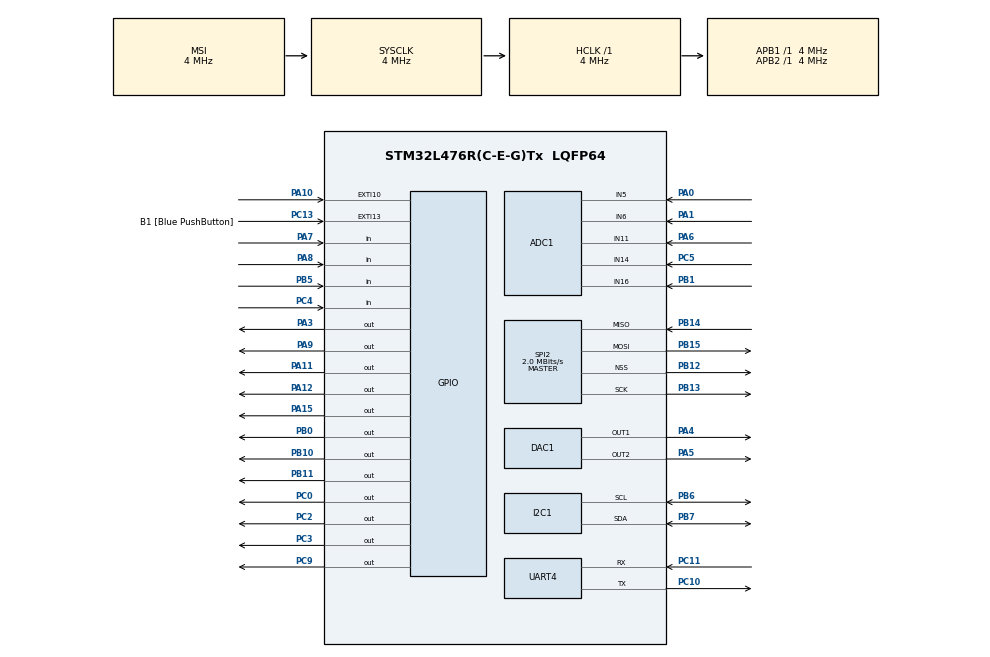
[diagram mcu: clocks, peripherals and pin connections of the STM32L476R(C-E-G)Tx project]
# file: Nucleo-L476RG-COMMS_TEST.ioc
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ADC1.Channel-0\#ChannelRegularConversion=ADC_CHANNEL_5
ADC1.NbrOfConversionFlag=1
ADC1.OffsetNumber-0\#ChannelRegularConversion=ADC_OFFSET_NONE
ADC1.Rank-0\#ChannelRegularConversion=1
ADC1.SamplingTime-0\#ChannelRegularConversion=ADC_SAMPLETIME_2CYCLES_5
ADC1.master=1
DAC1.DAC_Channel-DAC_OUT2=DAC_CHANNEL_2
FREERTOS.Tasks01=defaultTask,24,128,StartDefaultTask,Default,NULL,Dynamic,NULL,NULL
Mcu.Family=STM32L4
Mcu.Name=STM32L476R(C-E-G)Tx
Mcu.Package=LQFP64
NVIC.EXTI15_10_IRQn=true\:5\:0\:false\:false\:true\:true\:true\:true
NVIC.PriorityGroup=NVIC_PRIORITYGROUP_4
NVIC.SPI2_IRQn=true\:5\:0\:false\:false\:true\:true\:true\:true
NVIC.TIM1_UP_TIM16_IRQn=true\:5\:0\:false\:false\:true\:true\:true\:true
PA0.Signal=ADCx_IN5
PA1.Signal=ADCx_IN6
PA10.Signal=GPXTI10
PA11.Signal=GPIO_Output
PA12.Signal=GPIO_Output
PA13\ (JTMS-SWDIO).GPIO_Label=TMS
PA13\ (JTMS-SWDIO).Mode=Serial_Wire
PA13\ (JTMS-SWDIO).Signal=SYS_JTMS-SWDIO
PA14\ (JTCK-SWCLK).GPIO_Label=TCK
PA14\ (JTCK-SWCLK).Mode=Serial_Wire
PA14\ (JTCK-SWCLK).Signal=SYS_JTCK-SWCLK
PA15\ (JTDI).Signal=GPIO_Output
PA3.Signal=GPIO_Output
PA4.Signal=COMP_DAC11_group
PA5.Signal=COMP_DAC12_group
PA6.Signal=ADCx_IN11
PA7.Signal=GPIO_Input
PA8.Signal=GPIO_Input
PA9.Signal=GPIO_Output
PB0.Signal=GPIO_Output
PB1.Signal=ADCx_IN16
PB10.Signal=GPIO_Output
PB11.Signal=GPIO_Output
PB12.Mode=NSS_Signal_Hard_Output
PB12.Signal=SPI2_NSS
PB13.Mode=Full_Duplex_Master
PB13.Signal=SPI2_SCK
PB14.Mode=Full_Duplex_Master
PB14.Signal=SPI2_MISO
PB15.Mode=Full_Duplex_Master
PB15.Signal=SPI2_MOSI
PB5.Signal=GPIO_Input
PB6.Mode=I2C
PB6.Signal=I2C1_SCL
PB7.Mode=I2C
PB7.Signal=I2C1_SDA
PC0.Signal=GPIO_Output
PC10.Mode=Asynchronous
PC10.Signal=UART4_TX
PC11.Mode=Asynchronous
PC11.Signal=UART4_RX
PC13.GPIO_Label=B1 [Blue PushButton]
PC13.GPIO_ModeDefaultEXTI=GPIO_MODE_IT_FALLING
PC13.GPIO_PuPd=GPIO_NOPULL
PC13.Signal=GPXTI13
PC14-OSC32_IN\ (PC14).Mode=LSE-External-Oscillator
PC14-OSC32_IN\ (PC14).Signal=RCC_OSC32_IN
PC15-OSC32_OUT\ (PC15).Mode=LSE-External-Oscillator
PC15-OSC32_OUT\ (PC15).Signal=RCC_OSC32_OUT
PC2.Signal=GPIO_Output
PC3.Signal=GPIO_Output
PC4.Signal=GPIO_Input
PC5.Signal=ADCx_IN14
PC9.Signal=GPIO_Output
PH0-OSC_IN\ (PH0).Mode=HSE-External-Oscillator
PH0-OSC_IN\ (PH0).Signal=RCC_OSC_IN
PH1-OSC_OUT\ (PH1).Mode=HSE-External-Oscillator
PH1-OSC_OUT\ (PH1).Signal=RCC_OSC_OUT
ProjectManager.HeapSize=0x200
ProjectManager.StackSize=0x400
ProjectManager.TargetToolchain=STM32CubeIDE
RCC.ADCFreq_Value=64000000
RCC.AHBFreq_Value=4000000
RCC.APB1Freq_Value=4000000
RCC.APB1TimFreq_Value=4000000
RCC.APB2Freq_Value=4000000
RCC.APB2TimFreq_Value=4000000
RCC.CortexFreq_Value=4000000
RCC.HCLKFreq_Value=4000000
RCC.HSE_VALUE=8000000
RCC.HSI_VALUE=16000000
RCC.MSI_VALUE=4000000
RCC.PLLN=10
RCC.PLLSourceVirtual=RCC_PLLSOURCE_HSI
RCC.PREFETCH_ENABLE=1
RCC.SYSCLKFreq_VALUE=4000000
RCC.USBFreq_Value=64000000
RCC.VCOOutputFreq_Value=160000000
SH.ADCx_IN11.0=ADC1_IN11,IN11-Single-Ended
SH.ADCx_IN14.0=ADC1_IN14,IN14-Single-Ended
SH.ADCx_IN16.0=ADC1_IN16,IN16-Single-Ended
SH.ADCx_IN5.0=ADC1_IN5,IN5-Single-Ended
SH.ADCx_IN6.0=ADC1_IN6,IN6-Single-Ended
SH.COMP_DAC11_group.0=DAC1_OUT1,DAC_OUT1
SH.COMP_DAC12_group.0=DAC1_OUT2,DAC_OUT2
SPI2.CalculateBaudRate=2.0 MBits/s
SPI2.Direction=SPI_DIRECTION_2LINES
SPI2.Mode=SPI_MODE_MASTER
SPI2.VirtualNSS=VM_NSSHARD
SPI2.VirtualType=VM_MASTER
TIM16.Period=10000 - 1
TIM16.Prescaler=8000 - 1
VP_FREERTOS_VS_CMSIS_V2.Mode=CMSIS_V2
VP_IWDG_VS_IWDG.Mode=IWDG_Activate
VP_RTC_VS_RTC_Activate.Mode=RTC_Enabled
VP_RTC_VS_RTC_Calendar.Mode=RTC_Calendar
VP_TIM16_VS_ClockSourceINT.Mode=Enable_Timer
board=NUCLEO-L476RG

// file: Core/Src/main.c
/* USER CODE BEGIN Header */
/**
  ******************************************************************************
  * @file           : main.c
  * @brief          : Main program body
  ******************************************************************************
  * @attention
  *
  * <h2><center>&copy; Copyright (c) 2022 STMicroelectronics.
  * All rights reserved.</center></h2>
  *
  * This software component is licensed by ST under Ultimate Liberty license
  * SLA0044, the "License"; You may not use this file except in compliance with
  * the License. You may obtain a copy of the License at:
  *                             www.st.com/SLA0044
  *
  ******************************************************************************
  */
/* USER CODE END Header */
#include "main.h"
#include "cmsis_os.h"

/* USER CODE BEGIN Includes */
#include "definitions.h"
#include "flash.h"
/* USER CODE END Includes */

ADC_HandleTypeDef hadc1;

DAC_HandleTypeDef hdac1;

I2C_HandleTypeDef hi2c1;

IWDG_HandleTypeDef hiwdg;

RTC_HandleTypeDef hrtc;

SPI_HandleTypeDef hspi2;

TIM_HandleTypeDef htim16;

UART_HandleTypeDef huart4;

/* Definitions for OBC */
osThreadId_t OBCHandle;
const osThreadAttr_t OBC_attributes = {
		.name = "OBC",
		.stack_size = 4048 * 4,
		.priority = (osPriority_t) osPriorityNormal,
};
/* Definitions for COMMS */
osThreadId_t COMMSHandle;
const osThreadAttr_t COMMS_attributes = {
		.name = "COMMS",
		.stack_size = 4048 * 4,
		.priority = (osPriority_t) osPriorityNormal,
};
/* Definitions for ADCS */
osThreadId_t ADCSHandle;
const osThreadAttr_t ADCS_attributes = {
		.name = "ADCS",
		.stack_size = 4048 * 4,
		.priority = (osPriority_t) osPriorityNormal,
};
/* USER CODE BEGIN PV */
uint8_t timer_counter = 0;

uint8_t photo_vect[]={0xFF, 0xD8, 0xFF, 0xE0, 0x00, 0x10, 0x4A, 0x46, 0x49, 0x46, 0x00, 0x01, 0x01, 0x00, 0x00, 0x01,
	  				0x00, 0x01, 0x00, 0x00, 0xFF, 0xE2, 0x02, 0x28, 0x49, 0x43, 0x43, 0x5F, 0x50, 0x52, 0x4F, 0x46,
	  				0x49, 0x4C, 0x45, 0x00, 0x01, 0x01, 0x00, 0x00, 0x02, 0x18, 0x00, 0x00, 0x00, 0x00, 0x04, 0x30,
	  				0x00, 0x00, 0x6D, 0x6E, 0x74, 0x72, 0x52, 0x47, 0x42, 0x20, 0x58, 0x59, 0x5A, 0x20, 0x00, 0x00,
	  				0x00, 0x00, 0x00, 0x00, 0x00, 0x00, 0x00, 0x00, 0x00, 0x00, 0x61, 0x63, 0x73, 0x70, 0x00, 0x00,
	  				0x00, 0x00, 0x00, 0x00, 0x00, 0x00, 0x00, 0x00, 0x00, 0x00, 0x00, 0x00, 0x00, 0x00, 0x00, 0x00,
	  				0x00, 0x00, 0x00, 0x00, 0x00, 0x00, 0x00, 0x00, 0x00, 0x01, 0x00, 0x00, 0xF6, 0xD6, 0x00, 0x01,
	  				0x00, 0x00, 0x00, 0x00, 0xD3, 0x2D, 0x00, 0x00, 0x00, 0x00, 0x00, 0x00, 0x00, 0x00, 0x00, 0x00,
	  				0x00, 0x00, 0x00, 0x00, 0x00, 0x00, 0x00, 0x00, 0x00, 0x00, 0x00, 0x00, 0x00, 0x00, 0x00, 0x00,
	  				0x00, 0x00, 0x00, 0x00, 0x00, 0x00, 0x00, 0x00, 0x00, 0x00, 0x00, 0x00, 0x00, 0x00, 0x00, 0x00,
	  				0x00, 0x00, 0x00, 0x00, 0x00, 0x00, 0x00, 0x00, 0x00, 0x09, 0x64, 0x65, 0x73, 0x63, 0x00, 0x00,
	  				0x00, 0xF0, 0x00, 0x00, 0x00, 0x74, 0x72, 0x58, 0x59, 0x5A, 0x00, 0x00, 0x01, 0x64, 0x00, 0x00,
	  				0x00, 0x14, 0x67, 0x58, 0x59, 0x5A, 0x00, 0x00, 0x01, 0x78, 0x00, 0x00, 0x00, 0x14, 0x62, 0x58,
	  				0x59, 0x5A, 0x00, 0x00, 0x01, 0x8C, 0x00, 0x00, 0x00, 0x14, 0x72, 0x54, 0x52, 0x43, 0x00, 0x00,
	  				0x01, 0xA0, 0x00, 0x00, 0x00, 0x28, 0x67, 0x54, 0x52, 0x43, 0x00, 0x00, 0x01, 0xA0, 0x00, 0x00,
	  				0x00, 0x28, 0x62, 0x54, 0x52, 0x43, 0x00, 0x00, 0x01, 0xA0, 0x00, 0x00, 0x00, 0x28, 0x77, 0x74,
	  				0x70, 0x74, 0x00, 0x00, 0x01, 0xC8, 0x00, 0x00, 0x00, 0x14, 0x63, 0x70, 0x72, 0x74, 0x00, 0x00,
	  				0x01, 0xDC, 0x00, 0x00, 0x00, 0x3C, 0x6D, 0x6C, 0x75, 0x63, 0x00, 0x00, 0x00, 0x00, 0x00, 0x00,
	  				0x00, 0x01, 0x00, 0x00, 0x00, 0x0C, 0x65, 0x6E, 0x55, 0x53, 0x00, 0x00, 0x00, 0x58, 0x00, 0x00,
	  				0x00, 0x1C, 0x00, 0x73, 0x00, 0x52, 0x00, 0x47, 0x00, 0x42, 0x00, 0x00, 0x00, 0x00, 0x00, 0x00,
	  				0x00, 0x00, 0x00, 0x00, 0x00, 0x00, 0x00, 0x00, 0x00, 0x00, 0x00, 0x00, 0x00, 0x00, 0x00, 0x00,
	  				0x00, 0x00, 0x00, 0x00, 0x00, 0x00, 0x00, 0x00, 0x00, 0x00, 0x00, 0x00, 0x00, 0x00, 0x00, 0x00,
	  				0x00, 0x00, 0x00, 0x00, 0x00, 0x00, 0x00, 0x00, 0x00, 0x00, 0x00, 0x00, 0x00, 0x00, 0x00, 0x00,
	  				0x00, 0x00, 0x00, 0x00, 0x00, 0x00, 0x00, 0x00, 0x00, 0x00, 0x00, 0x00, 0x00, 0x00, 0x00, 0x00,
	  				0x00, 0x00, 0x00, 0x00, 0x00, 0x00, 0x00, 0x00, 0x00, 0x00, 0x58, 0x59, 0x5A, 0x20, 0x00, 0x00,
	  				0x00, 0x00, 0x00, 0x00, 0x6F, 0xA2, 0x00, 0x00, 0x38, 0xF5, 0x00, 0x00, 0x03, 0x90, 0x58, 0x59,
	  				0x5A, 0x20, 0x00, 0x00, 0x00, 0x00, 0x00, 0x00, 0x62, 0x99, 0x00, 0x00, 0xB7, 0x85, 0x00, 0x00,
	  				0x18, 0xDA, 0x58, 0x59, 0x5A, 0x20, 0x00, 0x00, 0x00, 0x00, 0x00, 0x00, 0x24, 0xA0, 0x00, 0x00,
	  				0x0F, 0x84, 0x00, 0x00, 0xB6, 0xCF, 0x70, 0x61, 0x72, 0x61, 0x00, 0x00, 0x00, 0x00, 0x00, 0x04,
	  				0x00, 0x00, 0x00, 0x02, 0x66, 0x66, 0x00, 0x00, 0xF2, 0xA7, 0x00, 0x00, 0x0D, 0x59, 0x00, 0x00,
	  				0x13, 0xD0, 0x00, 0x00, 0x0A, 0x5B, 0x00, 0x00, 0x00, 0x00, 0x00, 0x00, 0x00, 0x00, 0x58, 0x59,
	  				0x5A, 0x20, 0x00, 0x00, 0x00, 0x00, 0x00, 0x00, 0xF6, 0xD6, 0x00, 0x01, 0x00, 0x00, 0x00, 0x00,
	  				0xD3, 0x2D, 0x6D, 0x6C, 0x75, 0x63, 0x00, 0x00, 0x00, 0x00, 0x00, 0x00, 0x00, 0x01, 0x00, 0x00,
	  				0x00, 0x0C, 0x65, 0x6E, 0x55, 0x53, 0x00, 0x00, 0x00, 0x20, 0x00, 0x00, 0x00, 0x1C, 0x00, 0x47,
	  				0x00, 0x6F, 0x00, 0x6F, 0x00, 0x67, 0x00, 0x6C, 0x00, 0x65, 0x00, 0x20, 0x00, 0x49, 0x00, 0x6E,
	  				0x00, 0x63, 0x00, 0x2E, 0x00, 0x20, 0x00, 0x32, 0x00, 0x30, 0x00, 0x31, 0x00, 0x36, 0xFF, 0xDB,
	  				0x00, 0x43, 0x00, 0x03, 0x02, 0x02, 0x02, 0x02, 0x02, 0x03, 0x02, 0x02, 0x02, 0x03, 0x03, 0x03,
	  				0x03, 0x04, 0x06, 0x04, 0x04, 0x04, 0x04, 0x04, 0x08, 0x06, 0x06, 0x05, 0x06, 0x09, 0x08, 0x0A,
	  				0x0A, 0x09, 0x08, 0x09, 0x09, 0x0A, 0x0C, 0x0F, 0x0C, 0x0A, 0x0B, 0x0E, 0x0B, 0x09, 0x09, 0x0D,
	  				0x11, 0x0D, 0x0E, 0x0F, 0x10, 0x10, 0x11, 0x10, 0x0A, 0x0C, 0x12, 0x13, 0x12, 0x10, 0x13, 0x0F,
	  				0x10, 0x10, 0x10, 0xFF, 0xDB, 0x00, 0x43, 0x01, 0x03, 0x03, 0x03, 0x04, 0x03, 0x04, 0x08, 0x04,
	  				0x04, 0x08, 0x10, 0x0B, 0x09, 0x0B, 0x10, 0x10, 0x10, 0x10, 0x10, 0x10, 0x10, 0x10, 0x10, 0x10,
	  				0x10, 0x10, 0x10, 0x10, 0x10, 0x10, 0x10, 0x10, 0x10, 0x10, 0x10, 0x10, 0x10, 0x10, 0x10, 0x10,
	  				0x10, 0x10, 0x10, 0x10, 0x10, 0x10, 0x10, 0x10, 0x10, 0x10, 0x10, 0x10, 0x10, 0x10, 0x10, 0x10,
	  				0x10, 0x10, 0x10, 0x10, 0x10, 0x10, 0x10, 0x10, 0xFF, 0xC0, 0x00, 0x11, 0x08, 0x00, 0x78, 0x00,
	  				0xA0, 0x03, 0x01, 0x22, 0x00, 0x02, 0x11, 0x01, 0x03, 0x11, 0x01, 0xFF, 0xC4, 0x00, 0x1C, 0x00,
	  				0x00, 0x01, 0x05, 0x01, 0x01, 0x01, 0x00, 0x00, 0x00, 0x00, 0x00, 0x00, 0x00, 0x00, 0x00, 0x00,
	  				0x04, 0x00, 0x05, 0x06, 0x07, 0x08, 0x09, 0x01, 0x0A, 0xFF, 0xC4, 0x00, 0x35, 0x10, 0x00, 0x02,
	  				0x01, 0x03, 0x02, 0x04, 0x04, 0x05, 0x03, 0x02, 0x07, 0x01, 0x00, 0x00, 0x00, 0x00, 0x00, 0x04,
	  				0x05, 0x06, 0x07, 0x14, 0x01, 0x24, 0x08, 0x15, 0x34, 0x61, 0x11, 0x16, 0x44, 0x54, 0x02, 0x17,
	  				0x25, 0x31, 0x64, 0x21, 0x35, 0x51, 0x26, 0x41, 0x27, 0x33, 0x36, 0x45, 0x65, 0x81, 0x84, 0xF0,
	  				0xFF, 0xC4, 0x00, 0x19, 0x01, 0x00, 0x03, 0x01, 0x01, 0x01, 0x00, 0x00, 0x00, 0x00, 0x00, 0x00,
	  				0x00, 0x00, 0x00, 0x00, 0x00, 0x00, 0x03, 0x04, 0x05, 0x01, 0x06, 0xFF, 0xC4, 0x00, 0x2A, 0x11,
	  				0x01, 0x00, 0x02, 0x00, 0x05, 0x03, 0x03, 0x02, 0x07, 0x00, 0x00, 0x00, 0x00, 0x00, 0x00, 0x00,
	  				0x00, 0x03, 0x13, 0x01, 0x04, 0x11, 0x41, 0x61, 0x05, 0x14, 0x23, 0x02, 0x12, 0x51, 0x21, 0x31,
	  				0x24, 0x33, 0x52, 0x62, 0x91, 0xA1, 0xE1, 0xFF, 0xDA, 0x00, 0x0C, 0x03, 0x01, 0x00, 0x02, 0x11,
	  				0x03, 0x11, 0x00, 0x3F, 0x00, 0xEA, 0x58, 0x84, 0x20, 0x08, 0xF5, 0x6B, 0x52, 0xA1, 0x48, 0x53,
	  				0xED, 0x4E, 0xB9, 0xF6, 0x4C, 0xE4, 0xAF, 0x10, 0x97, 0x53, 0xCF, 0x95, 0x43, 0x73, 0x8E, 0xBD,
	  				0xB4, 0xF4, 0x66, 0x95, 0xE3, 0x46, 0xFC, 0x66, 0x35, 0xE4, 0x78, 0x57, 0xB6, 0xA7, 0x3F, 0xEA,
	  				0xC7, 0x1E, 0x98, 0x6B, 0xF1, 0x0C, 0xEA, 0xBB, 0xA9, 0xAD, 0xD7, 0x41, 0x36, 0x35, 0x22, 0xB2,
	  				0xCE, 0x73, 0x86, 0x8F, 0x25, 0xB6, 0x71, 0x78, 0x23, 0xB2, 0x89, 0xA2, 0x08, 0xDE, 0xF2, 0x50,
	  				0xD1, 0x48, 0x8A, 0xE1, 0x8D, 0x2D, 0x92, 0xB9, 0x67, 0x08, 0xA3, 0x7B, 0xC1, 0x55, 0x72, 0x05,
	  				0xA8, 0x9E, 0x61, 0x2B, 0xF4, 0xC4, 0x7E, 0x24, 0x95, 0x09, 0x08, 0xAC, 0xB0, 0x22, 0x89, 0xF7,
	  				0x1D, 0x65, 0xBA, 0xB0, 0xB5, 0x13, 0xDA, 0x8A, 0xAB, 0x90, 0x6A, 0xE4, 0xFD, 0xC5, 0xE5, 0xBF,
	  				0xFE, 0xF1, 0x24, 0x02, 0x6C, 0x68, 0x47, 0xF9, 0x3F, 0x71, 0x61, 0x8E, 0xAD, 0x82, 0x0A, 0xAB,
	  				0x90, 0x6A, 0x04, 0x1D, 0x9B, 0x10, 0xD0, 0x10, 0x13, 0x0C, 0x76, 0x0A, 0xC3, 0x00, 0xFA, 0x36,
	  				0x28, 0x8E, 0x29, 0x2F, 0x54, 0x7D, 0xAA, 0xA3, 0x1A, 0xD3, 0x47, 0x7C, 0x1A, 0x6F, 0x4F, 0x0D,
	  				0x3B, 0x68, 0x5A, 0xB5, 0xB5, 0x5C, 0x85, 0x1D, 0x00, 0xCC, 0xDB, 0x9F, 0x6D, 0x3E, 0xC7, 0x28,
	  				0x6F, 0xCD, 0xC8, 0x7A, 0xF0, 0x56, 0x4D, 0xBC, 0xEB, 0xDB, 0x4F, 0x46, 0x12, 0xF9, 0x66, 0xAB,
	  				0xEC, 0xAD, 0x54, 0xD5, 0x95, 0x24, 0xE5, 0x61, 0x28, 0xDB, 0xCE, 0xFA, 0xD2, 0x2A, 0xDA, 0x6F,
	  				0x12, 0xA6, 0xDC, 0x46, 0x1C, 0x8A, 0xB7, 0x52, 0x66, 0x35, 0x82, 0x91, 0x5A, 0x41, 0x4A, 0x27,
	  				0xB5, 0x1A, 0xA5, 0xB6, 0x64, 0x83, 0xFD, 0xAF, 0x7A, 0x42, 0xA5, 0x9C, 0x00, 0x8F, 0xCB, 0x38,
	  				0x08, 0xA2, 0x79, 0x81, 0x7D, 0x61, 0x20, 0x89, 0x87, 0xEC, 0x00, 0x52, 0x90, 0xE1, 0x6A, 0x27,
	  				0x86, 0x3A, 0xE1, 0xE1, 0xAA, 0x35, 0x7A, 0x92, 0x40, 0x6A, 0x6D, 0x3E, 0xE1, 0x41, 0x6D, 0xA7,
	  				0xDC, 0x6A, 0xC3, 0x00, 0x29, 0x44, 0xFB, 0x82, 0xB6, 0x3A, 0x82, 0x00, 0x35, 0x02, 0x0E, 0xCD,
	  				0x82, 0x61, 0x80, 0x34, 0xB9, 0xD5, 0x1E, 0xA8, 0x9F, 0x71, 0xD7, 0x0C, 0x40, 0x02, 0x05, 0xA8,
	  				0x21, 0x12, 0x87, 0x4D, 0x78, 0xC6, 0xBE, 0xFA, 0x4B, 0xCA, 0x79, 0x1A, 0x15, 0xED, 0xA7, 0xAC,
	  				0x31, 0xFB, 0x6E, 0x76, 0x0B, 0x96, 0x98, 0xE7, 0x12, 0x8D, 0xBC, 0xEE, 0xED, 0xB7, 0x48, 0xA5,
	  				0x42, 0xE1, 0x7C, 0x31, 0x55, 0xBA, 0xB4, 0x56, 0xA1, 0x70, 0x12, 0x93, 0x87, 0xCC, 0x6B, 0x38,
	  				0x12, 0x59, 0xCD, 0xD1, 0x2B, 0x89, 0xFA, 0x3C, 0x0F, 0xE5, 0x9A, 0x18, 0x24, 0x09, 0x50, 0xB9,
	  				0x87, 0xB1, 0x21, 0x4D, 0xEF, 0x09, 0x07, 0x96, 0xE7, 0x26, 0x1A, 0xE8, 0x49, 0x04, 0x4D, 0x1F,
	  				0x87, 0xD6, 0x8A, 0xB7, 0x80, 0x8A, 0x53, 0xD4, 0xD9, 0x36, 0x51, 0x34, 0x61, 0xC2, 0x9B, 0x71,
	  				0x14, 0xD5, 0x22, 0xAD, 0xCC, 0x66, 0x34, 0x28, 0x0A, 0x96, 0x70, 0x8F, 0xC4, 0xF5, 0x63, 0xB6,
	  				0x1E, 0xD4, 0x4A, 0x27, 0xBA, 0x00, 0x75, 0x6D, 0x3D, 0xA9, 0x1F, 0x6D, 0x3E, 0xE4, 0xAF, 0x0F,
	  				0x6A, 0x34, 0xCB, 0x26, 0x48, 0x0D, 0x42, 0x10, 0x80, 0x04, 0x05, 0x1D, 0x41, 0x00, 0x05, 0x10,
	  				0x50, 0x29, 0x28, 0x26, 0xC4, 0xA2, 0x7D, 0xC2, 0x84, 0xA0, 0x04, 0xD9, 0x49, 0x8C, 0x36, 0x82,
	  				0xA5, 0xB7, 0x8A, 0x93, 0x69, 0x6E, 0x15, 0xEF, 0x14, 0x3C, 0x5E, 0x74, 0xD5, 0x2A, 0xE2, 0x85,
	  				0x53, 0xBE, 0x87, 0x6B, 0x05, 0xD2, 0xFB, 0xE3, 0xF9, 0x06, 0xAC, 0x3C, 0xC9, 0x42, 0x6B, 0x86,
	  				0xF2, 0x6A, 0xEC, 0x86, 0xAA, 0x79, 0x3F, 0xAA, 0x12, 0x09, 0x69, 0x8C, 0x3D, 0x8A, 0x43, 0x81,
	  				0x66, 0x61, 0x8D, 0x4D, 0xCC, 0x02, 0x36, 0xE7, 0x61, 0xAA, 0x59, 0xC4, 0x7F, 0x80, 0x01, 0x1B,
	  				0x73, 0xB0, 0xA2, 0x46, 0xA6, 0xDC, 0xCC, 0x25, 0x54, 0x9C, 0x3B, 0xD3, 0x0D, 0x28, 0x8A, 0x48,
	  				0xE5, 0xB6, 0xE8, 0x03, 0xB4, 0x4C, 0x3B, 0xD3, 0x0D, 0x28, 0x8C, 0x2A, 0x39, 0x6D, 0xBA, 0x69,
	  				0xFA, 0x7B, 0x83, 0xF8, 0x3A, 0x3E, 0xDC, 0xB7, 0x5C, 0x5C, 0xE7, 0xB1, 0x1B, 0xC3, 0x2E, 0x1E,
	  				0x1E, 0xEC, 0x9D, 0x2B, 0x64, 0xE9, 0x7F, 0x35, 0x56, 0x88, 0xE5, 0xD4, 0x0E, 0xFA, 0x42, 0xCA,
	  				0xAB, 0x39, 0x1C, 0xC4, 0x0F, 0x3C, 0xB8, 0x3B, 0x45, 0x3D, 0xA1, 0x9F, 0x34, 0xB6, 0xEC, 0x1C,
	  				0xBF, 0x6F, 0x05, 0x3C, 0xBC, 0x2E, 0x90, 0x8F, 0xB6, 0x5C, 0x17, 0xBA, 0xA4, 0xB7, 0x33, 0x15,
	  				0x47, 0xF8, 0x7C, 0x8E, 0x22, 0x85, 0x54, 0xD8, 0x5B, 0xC0, 0x47, 0xC4, 0x16, 0xD8, 0x20, 0x5B,
	  				0xC0, 0x21, 0x08, 0x42, 0x80, 0x46, 0xC1, 0x4F, 0x1C, 0xEA, 0x8F, 0x40, 0xDB, 0x78, 0x3A, 0x89,
	  				0x40, 0x40, 0xB5, 0x04, 0x5D, 0xC1, 0x4E, 0xFA, 0x4B, 0x28, 0x8C, 0xBA, 0xB8, 0x4F, 0x25, 0x95,
	  				0xA7, 0x72, 0x9D, 0xBA, 0xFC, 0x21, 0xD9, 0xDB, 0xAB, 0x07, 0xAA, 0x0F, 0xC2, 0x68, 0x93, 0x5A,
	  				0xFD, 0x9A, 0x57, 0xF4, 0xD4, 0xB0, 0xA7, 0xEB, 0xA8, 0x3A, 0x65, 0x46, 0x9D, 0x9A, 0x7D, 0x45,
	  				0x3C, 0x3F, 0x9D, 0x4C, 0xD5, 0x78, 0xB8, 0xFB, 0xA5, 0x69, 0xA5, 0x5A, 0x46, 0x8A, 0x4B, 0x2D,
	  				0xAF, 0x75, 0xFD, 0x87, 0x43, 0x9D, 0x8A, 0x63, 0xAA, 0xCC, 0x7C, 0xB1, 0xAD, 0xF8, 0xB1, 0x1F,
	  				0x22, 0x2B, 0x1E, 0x46, 0x94, 0xE7, 0x36, 0x2A, 0xA6, 0xD3, 0xC3, 0x68, 0x2E, 0xE6, 0xDE, 0x09,
	  				0xCA, 0xC2, 0x79, 0xB9, 0xC9, 0xAE, 0xAD, 0xD2, 0x12, 0xDD, 0x78, 0xF7, 0xAD, 0x2B, 0xC9, 0xB9,
	  				0x34, 0x55, 0x6E, 0x76, 0x6D, 0xCE, 0xC0, 0x8D, 0xA7, 0xDC, 0x2D, 0x4D, 0xE2, 0xB9, 0xC9, 0x02,
	  				0x61, 0xE6, 0x74, 0x45, 0x65, 0x14, 0x4D, 0x36, 0xF4, 0xC4, 0xA2, 0x88, 0xC2, 0xEE, 0xDB, 0x74,
	  				0xE8, 0x07, 0x0C, 0xBC, 0x3D, 0xC1, 0xDB, 0x78, 0x15, 0x2B, 0x8A, 0xD3, 0xFD, 0x41, 0xE8, 0xD4,
	  				0x22, 0xBC, 0x2D, 0x59, 0xF8, 0x3B, 0x56, 0xAA, 0x97, 0x1A, 0xE0, 0xA3, 0x97, 0x2A, 0xEF, 0x46,
	  				0xA1, 0xAA, 0xAA, 0xC9, 0x8A, 0x56, 0x1E, 0x2F, 0xE6, 0x35, 0x68, 0x8E, 0x22, 0x89, 0x6F, 0x53,
	  				0x50, 0xCF, 0x9A, 0x5B, 0x76, 0x36, 0xAE, 0x42, 0x37, 0x31, 0x07, 0x47, 0xC5, 0xB7, 0x75, 0x2E,
	  				0x0B, 0xC9, 0xEC, 0xBA, 0x35, 0x0C, 0x15, 0xC4, 0x27, 0x10, 0x93, 0x97, 0x52, 0x7B, 0x65, 0x98,
	  				0xA4, 0x52, 0x43, 0x55, 0xEE, 0xBF, 0x13, 0x97, 0x52, 0x79, 0xB7, 0xB7, 0x8A, 0x44, 0xFA, 0x35,
	  				0x07, 0x5B, 0x0D, 0x67, 0xE9, 0x5B, 0xA8, 0xAB, 0x79, 0xAF, 0x7D, 0x57, 0xDA, 0x0A, 0x76, 0xAE,
	  				0x54, 0xFA, 0x86, 0x80, 0xB7, 0xBC, 0x3D, 0xBD, 0x58, 0x5A, 0xF9, 0x59, 0xC7, 0x51, 0xC4, 0xFC,
	  				0xB0, 0xB5, 0x38, 0x33, 0x9C, 0x4E, 0xA8, 0xDE, 0xBD, 0x89, 0x4F, 0xA5, 0xEA, 0xCB, 0x56, 0xA1,
	  				0xE2, 0x72, 0xDC, 0xD3, 0x76, 0xE5, 0xBB, 0x3A, 0x96, 0xEF, 0x09, 0x3C, 0x2C, 0xB2, 0x79, 0x65,
	  				0xB7, 0x6D, 0x0D, 0xF6, 0xC9, 0xFA, 0x58, 0x7D, 0x4A, 0x6F, 0x9C, 0x4F, 0x60, 0xA4, 0x2A, 0xB2,
	  				0x83, 0x9C, 0xA6, 0xFA, 0xD2, 0xC0, 0xB6, 0x49, 0xE6, 0x4A, 0x67, 0x16, 0x5C, 0xB4, 0x3F, 0x38,
	  				0xEB, 0x4B, 0x21, 0x8E, 0xDD, 0xF4, 0x64, 0xCD, 0x9B, 0xAB, 0x66, 0x54, 0x04, 0x2F, 0x6A, 0xB2,
	  				0xCF, 0xE6, 0x6F, 0xA1, 0x4A, 0x7E, 0x5A, 0x1D, 0xE8, 0x76, 0xB0, 0x5D, 0x16, 0x6C, 0x32, 0xDD,
	  				0xB6, 0x88, 0xF8, 0x9B, 0x0A, 0x6C, 0x14, 0x84, 0xE2, 0x0A, 0x50, 0x14, 0x28, 0x03, 0x4B, 0x5C,
	  				0x2B, 0xC1, 0x55, 0x57, 0x8D, 0x6F, 0x5E, 0x29, 0xF6, 0xD3, 0x79, 0xC2, 0x54, 0xA4, 0x3B, 0xCE,
	  				0x16, 0x05, 0x27, 0x41, 0xE6, 0x35, 0xBD, 0x15, 0xDC, 0x47, 0xF2, 0xDC, 0x86, 0x1B, 0xB7, 0xD1,
	  				0x5F, 0xD3, 0xD6, 0x7F, 0x9C, 0x2B, 0xD0, 0x95, 0xAD, 0xE3, 0xA3, 0xD1, 0xA6, 0xDA, 0x37, 0xAC,
	  				0x4D, 0x1E, 0x8A, 0x71, 0x7D, 0x09, 0x8F, 0xF8, 0xB0, 0x4F, 0x0E, 0x79, 0x44, 0x45, 0x41, 0x9D,
	  				0x92, 0x5C, 0xDF, 0xC1, 0xB9, 0xCC, 0x9C, 0x7D, 0xA2, 0x94, 0xA4, 0xE6, 0x30, 0xDA, 0xC1, 0x2C,
	  				0x0A, 0x7A, 0x61, 0x18, 0x79, 0xE8, 0x99, 0xCE, 0xAD, 0x44, 0x9C, 0x2B, 0x5C, 0x31, 0xD6, 0x26,
	  				0x63, 0x0F, 0x62, 0xE9, 0xE9, 0xEA, 0xE5, 0xE7, 0x9D, 0x35, 0xA4, 0xEB, 0x04, 0x5C, 0x81, 0x52,
	  				0xEA, 0x54, 0xFF, 0x00, 0xB5, 0x24, 0x9E, 0xCD, 0x43, 0x2F, 0xF1, 0x09, 0xC4, 0xE4, 0xE5, 0xD4,
	  				0x94, 0x6D, 0x14, 0x9E, 0xFE, 0x9F, 0xF6, 0x85, 0x3F, 0xF3, 0x22, 0xAA, 0xF2, 0xBF, 0x95, 0x79,
	  				0xE7, 0xD2, 0xBD, 0xA1, 0x20, 0xB4, 0xF6, 0xAE, 0x72, 0xE4, 0x35, 0xFF, 0x00, 0x14, 0x97, 0x58,
	  				0xD9, 0x01, 0xD2, 0xC9, 0x6E, 0xC8, 0xAE, 0x61, 0xAA, 0xAD, 0x3D, 0x37, 0xF2, 0x4E, 0x83, 0xF9,
	  				0xA9, 0x9D, 0xF5, 0x5F, 0x68, 0x0B, 0x6F, 0x6C, 0x9D, 0x2B, 0x0F, 0x3C, 0xDD, 0x71, 0x53, 0xA3,
	  				0xFD, 0x3F, 0x0C, 0x55, 0x37, 0xE6, 0xF0, 0x79, 0xF2, 0x7B, 0x06, 0x98, 0xCC, 0x4E, 0x9F, 0x4B,
	  				0xA3, 0x03, 0x61, 0xF1, 0x2F, 0x68, 0x9E, 0x39, 0x39, 0xC5, 0x2F, 0x2B, 0x07, 0x5A, 0x41, 0xF5,
	  				0xBE, 0xD0, 0xCF, 0xF1, 0x34, 0xDB, 0xD5, 0x23, 0x5B, 0x24, 0x46, 0x9B, 0x7B, 0x41, 0xBD, 0x52,
	  				0x4A, 0x7E, 0x21, 0xAD, 0xA8, 0x8A, 0x6D, 0x14, 0xF1, 0x11, 0x49, 0x12, 0x29, 0xBC, 0x3C, 0xB9,
	  				0x17, 0x96, 0x5A, 0xBE, 0xC8, 0xA5, 0x27, 0x6D, 0xFC, 0xB7, 0x03, 0xF9, 0x64, 0x52, 0xA1, 0xAF,
	  				0x11, 0xA6, 0xDA, 0xC1, 0x2F, 0x6A, 0xDE, 0x9B, 0x9C, 0x4E, 0x2D, 0xBC, 0x23, 0x2F, 0xCB, 0x51,
	  				0xF3, 0x8E, 0x35, 0x9D, 0x83, 0xBB, 0x1D, 0x0C, 0xD6, 0xEC, 0xEF, 0x6B, 0xDA, 0xEF, 0xA8, 0xA8,
	  				0x9B, 0x90, 0xF4, 0xC4, 0xA6, 0x0E, 0x0E, 0xD0, 0xB2, 0xE5, 0xAD, 0x5A, 0x35, 0x24, 0x5E, 0xF5,
	  				0x12, 0xB4, 0xB6, 0x54, 0x7B, 0xCE, 0x55, 0x0A, 0x1A, 0xAD, 0xB4, 0xF9, 0x3C, 0x59, 0x65, 0xBC,
	  				0x25, 0xEC, 0xE4, 0x62, 0xAA, 0xDE, 0xD5, 0xBD, 0x4D, 0xB5, 0xEE, 0xD5, 0x2B, 0xFE, 0x4F, 0xDC,
	  				0xD9, 0x52, 0xD0, 0xFC, 0xE1, 0xA6, 0xF3, 0x4A, 0xAA, 0xAC, 0xB6, 0xF9, 0x8D, 0x67, 0x42, 0xA2,
	  				0xE6, 0x21, 0x98, 0xA9, 0x9F, 0xF0, 0xF7, 0x40, 0x8D, 0x96, 0x04, 0xB5, 0x37, 0x86, 0x35, 0x29,
	  				0x47, 0xBD, 0x30, 0xD6, 0x0A, 0x48, 0x82, 0x46, 0x8B, 0xA7, 0xA8, 0xF2, 0xE0, 0xA4, 0xE8, 0xFC,
	  				0x35, 0x47, 0x5A, 0x22, 0x8F, 0xCC, 0x54, 0xB5, 0x62, 0x69, 0xBC, 0x35, 0x8C, 0x49, 0xA5, 0xAB,
	  				0x6D, 0x5E, 0xE3, 0x28, 0x8A, 0xA9, 0x4D, 0xED, 0x7A, 0x13, 0x1A, 0x71, 0x61, 0x0F, 0x99, 0x54,
	  				0x1D, 0x00, 0x96, 0x4F, 0xD0, 0xC2, 0xF5, 0x66, 0x5F, 0xE2, 0x96, 0xDB, 0xF2, 0x75, 0x54, 0x79,
	  				0xDE, 0xAD, 0xD2, 0xBE, 0x9B, 0x15, 0xB2, 0xDB, 0xA9, 0x3D, 0x4A, 0x78, 0xE2, 0x86, 0xAD, 0x75,
	  				0x62, 0xA5, 0x28, 0xF1, 0x4B, 0x51, 0xC8, 0x96, 0xAF, 0x27, 0xEE, 0x09, 0xC9, 0xFB, 0x9E, 0xA1,
	  				0xE3, 0x71, 0x53, 0xEA, 0x26, 0xF2, 0x6D, 0x1D, 0x00, 0xB0, 0xC9, 0xC1, 0xD6, 0x14, 0x6C, 0x55,
	  				0x2B, 0x45, 0xED, 0x3D, 0xE1, 0x95, 0x5B, 0xA3, 0xF3, 0x02, 0xA9, 0x3A, 0xC2, 0xB8, 0xB5, 0x6D,
	  				0x67, 0x42, 0x84, 0xDE, 0x51, 0x0E, 0x15, 0x35, 0x05, 0xD8, 0xB9, 0x0F, 0x51, 0xED, 0x4A, 0xDB,
	  				0x94, 0xA0, 0xF2, 0xD4, 0xC3, 0x33, 0x55, 0x27, 0x61, 0xEA, 0xAA, 0x92, 0x53, 0xF1, 0x04, 0xDD,
	  				0xD4, 0x9C, 0xAC, 0x25, 0x33, 0xA6, 0x9E, 0xDD, 0x97, 0x05, 0xBD, 0xAF, 0x3D, 0x0B, 0xAF, 0x0A,
	  				0x86, 0x2A, 0xB7, 0x73, 0x38, 0x95, 0xD3, 0xD6, 0xAF, 0xCB, 0x71, 0x78, 0x29, 0x22, 0x58, 0x14,
	  				0x45, 0x36, 0xF7, 0x34, 0x50, 0x51, 0x35, 0x21, 0x65, 0x5B, 0xD7, 0x11, 0x73, 0xAD, 0x39, 0x9C,
	  				0x8B, 0x7D, 0x47, 0x4E, 0xF1, 0x2B, 0x5B, 0xC7, 0x5E, 0x79, 0x3D, 0xA5, 0x20, 0xF0, 0x7A, 0xD2,
	  				0x28, 0xA4, 0x3A, 0x3C, 0xAF, 0x65, 0xBB, 0x69, 0xD2, 0xE0, 0xAD, 0xED, 0x5B, 0xD3, 0x0D, 0x67,
	  				0x60, 0xE5, 0x82, 0xD2, 0x7C, 0x3D, 0xBD, 0x30, 0xAE, 0x77, 0x48, 0x2B, 0x05, 0x8C, 0xD3, 0x12,
	  				0x9B, 0xD4, 0x1D, 0x51, 0x9C, 0xE9, 0x6A, 0xB6, 0xE7, 0x38, 0xDF, 0x17, 0xB2, 0x9C, 0x3D, 0xD2,
	  				0xA9, 0xEF, 0xA6, 0xB7, 0x6D, 0x84, 0xD3, 0xF6, 0x59, 0x04, 0xDB, 0xE7, 0x55, 0x2E, 0xBA, 0x2B,
	  				0x16, 0x9E, 0x9E, 0x3A, 0x28, 0x46, 0x6D, 0xF1, 0xFC, 0xAA, 0xBA, 0x22, 0xCF, 0xCE, 0x57, 0x8D,
	  				0x67, 0x60, 0xE2, 0x45, 0x17, 0x4D, 0xD8, 0xD2, 0x97, 0xB7, 0x16, 0xED, 0x95, 0x11, 0x86, 0x53,
	  				0x46, 0x5C, 0xD3, 0x09, 0x3F, 0x87, 0xC3, 0xEE, 0x79, 0xF0, 0xDD, 0x4F, 0x8A, 0x5E, 0x4B, 0x4A,
	  				0x5E, 0xDA, 0xC2, 0x68, 0xDA, 0xDE, 0x1F, 0xAB, 0x7A, 0x7D, 0xB4, 0x1D, 0x94, 0xB3, 0xE8, 0xCB,
	  				0xB7, 0xA4, 0xD5, 0x66, 0xE7, 0x36, 0x6B, 0xC3, 0xFE, 0x87, 0x61, 0x17, 0xBF, 0xF2, 0xB1, 0xD5,
	  				0x2D, 0x9C, 0x31, 0x0A, 0x9C, 0x3D, 0xD7, 0x15, 0xE7, 0xEC, 0xB0, 0x7F, 0xFA, 0xCB, 0x55, 0x3E,
	  				0x10, 0x34, 0xB7, 0x10, 0x39, 0xDA, 0x6B, 0xA3, 0x8D, 0xE8, 0x6C, 0x94, 0xD2, 0x4D, 0x25, 0x30,
	  				0x93, 0x4B, 0x45, 0x56, 0xED, 0xA7, 0x80, 0x5B, 0x7F, 0xE4, 0x1C, 0xCD, 0xE4, 0x3C, 0x56, 0x7B,
	  				0xBF, 0xAF, 0xF5, 0x5C, 0x32, 0xD5, 0xB3, 0x1B, 0x5B, 0xD7, 0x11, 0xE5, 0x79, 0xCE, 0x96, 0x54,
	  				0x4C, 0xBA, 0x13, 0x0D, 0xA9, 0x09, 0x9B, 0x89, 0xAB, 0x82, 0x11, 0x89, 0x83, 0x7F, 0x35, 0x99,
	  				0x93, 0x2B, 0x87, 0x8B, 0x1D, 0x16, 0xA4, 0x35, 0x25, 0x1F, 0x15, 0xA7, 0x8F, 0xC1, 0xAF, 0x8B,
	  				0x3F, 0xC9, 0x98, 0x78, 0x9A, 0xB6, 0xF5, 0xC5, 0x79, 0x53, 0xEC, 0x91, 0xDA, 0x26, 0x21, 0x1B,
	  				0x19, 0x4C, 0x34, 0xC7, 0x47, 0x9C, 0x87, 0xF1, 0x58, 0xE3, 0x6F, 0xD5, 0x9F, 0xDB, 0xB2, 0x75,
	  				0xC2, 0x6A, 0xFE, 0xC6, 0xE1, 0x14, 0x6E, 0x83, 0xAA, 0x93, 0x6B, 0xF6, 0x37, 0x04, 0x23, 0x55,
	  				0x18, 0x5F, 0x2D, 0xCE, 0x27, 0xD6, 0xA2, 0x2C, 0x3C, 0xCE, 0xB5, 0x11, 0x08, 0x1C, 0x45, 0x25,
	  				0xAD, 0xBF, 0xAE, 0x48, 0x69, 0x89, 0xE7, 0x90, 0xE2, 0x11, 0xDC, 0x02, 0xD6, 0xA2, 0x2E, 0x47,
	  				0x27, 0x69, 0x4C, 0xDE, 0x94, 0xD1, 0x74, 0x9D, 0x79, 0x07, 0x52, 0x7A, 0xE1, 0x08, 0x8B, 0x38,
	  				0xD7, 0xE9, 0x0B, 0x2F, 0xCF, 0x9E, 0x4F, 0xC4, 0xDF, 0x65, 0x96, 0x4A, 0x8F, 0x56, 0xCE, 0x46,
	  				0xE5, 0xA5, 0x0B, 0xA2, 0x9F, 0x17, 0xDF, 0xC1, 0xBD, 0x7F, 0x51, 0x08, 0x93, 0xD2, 0x46, 0x6E,
	  				0x7F, 0xDB, 0x87, 0xF0, 0x76, 0x57, 0x5D, 0x68, 0xF8, 0xC6, 0xA6, 0xEA, 0x79, 0xBF, 0x1D, 0x3F,
	  				0x93, 0x3F, 0xCA, 0xD7, 0x75, 0xC5, 0xEB, 0x9D, 0xE4, 0x70, 0xA9, 0x62, 0x45, 0x7B, 0x5D, 0x7F,
	  				0xB8, 0x84, 0x58, 0x83, 0x06, 0x88, 0xB7, 0xD4, 0x3C, 0x7D, 0x1D, 0x17, 0xA2, 0x29, 0xEB, 0xA6,
	  				0x4F, 0xC5, 0xE1, 0x95, 0xAF, 0x8F, 0xDF, 0x52, 0x5C, 0x21, 0x15, 0xE5, 0x15, 0x3C, 0xF0, 0xF0,
	  				0x18, 0x2A, 0x19, 0x8C, 0x35, 0x44, 0x23, 0x2F, 0xAB, 0xE6, 0x24, 0xF4, 0xFD, 0x30, 0xC4, 0x3F,
	  				0xFF, 0xD9};

/* USER CODE END PV */

void SystemClock_Config(void);
void SystemClockConfig( void );
static void MX_GPIO_Init(void);
static void MX_I2C1_Init(void);
static void MX_RTC_Init(void);
static void MX_SPI2_Init(void);
static void MX_UART4_Init(void);
static void MX_TIM16_Init(void);
static void MX_ADC1_Init(void);
static void MX_DAC1_Init(void);
static void MX_IWDG_Init(void);
void StartOBC(void *argument);
void StartCOMMS(void *argument);
void StartADCS(void *argument);

int main(void)
{

  /* MCU Configuration--------------------------------------------------------*/

  /* Reset of all peripherals, Initializes the Flash interface and the Systick. */
  HAL_Init();

  /* Configure the system clock */
  SystemClock_Config();

  /* USER CODE BEGIN SysInit */
  //SystemClockConfig();
  /* USER CODE END SysInit */

  /* Initialize all configured peripherals */
  MX_GPIO_Init();
  MX_I2C1_Init();
  MX_RTC_Init();
  MX_SPI2_Init();
  MX_UART4_Init();
  MX_TIM16_Init();
  MX_ADC1_Init();
  MX_DAC1_Init();
  MX_IWDG_Init();
  initsensors(&hi2c1);

  	RTC_TimeTypeDef sTime;
  	RTC_DateTypeDef sDate;

  	// RTC TEST -> OKEY
  	uint32_t time_rtc;
  	// HumanToUnixTime(&hrtc, time_rtc);
  	HAL_IWDG_Refresh(&hiwdg);
  	// Write the setTime -> OKEY
  	uint32_t time = 1650363908, time2;
  	// UnixToHumanTime(time, &hrtc);
  	// See if the SetTime and SetDate are correct
  	HAL_RTC_GetTime(&hrtc, &sTime, RTC_FORMAT_BIN);
  	HAL_RTC_GetDate(&hrtc, &sDate, RTC_FORMAT_BIN);
  /* Init scheduler */
  osKernelInitialize();

  /* creation of OBC */
  	OBCHandle = osThreadNew(StartOBC, NULL, &OBC_attributes);

  	/* creation of COMMS */
  	COMMSHandle = osThreadNew(StartCOMMS, NULL, &COMMS_attributes);

  	/* creation of ADCS */
  	ADCSHandle = osThreadNew(StartADCS, NULL, &ADCS_attributes);

  /* Create the thread(s) */
  /* creation of defaultTask */
  //defaultTaskHandle = osThreadNew(StartDefaultTask, NULL, &defaultTask_attributes);

  /* Start scheduler */
  osKernelStart();

  /* We should never get here as control is now taken by the scheduler */
  /* Infinite loop */
  while (1)
  {
	  //COMMS TEST:
	  //Flash_Write_Data(SAVE_PHOTO,&photo_vect,128);
	  //HAL_Delay(1000);
  	  //StateMachine();
	  //PAYLOAD PROTOCOL ERROR
	  /*if(!initCam(huart4)){
		 		  errorProt(initCam, huart4);
		 	  }

		 	  if(!takePhoto(huart4)){
		 		  errorProt(takePhoto, huart4);
		 	  }

		 	  break;

  }
}

void SystemClock_Config(void)
{
  RCC_OscInitTypeDef RCC_OscInitStruct = {0};
  RCC_ClkInitTypeDef RCC_ClkInitStruct = {0};

  /** Configure the main internal regulator output voltage
  */
  if (HAL_PWREx_ControlVoltageScaling(PWR_REGULATOR_VOLTAGE_SCALE1) != HAL_OK)
  {
    Error_Handler();
  }
  /** Configure LSE Drive Capability
  */
  HAL_PWR_EnableBkUpAccess();
  __HAL_RCC_LSEDRIVE_CONFIG(RCC_LSEDRIVE_LOW);
  /** Initializes the RCC Oscillators according to the specified parameters
  * in the RCC_OscInitTypeDef structure.
  */
  RCC_OscInitStruct.OscillatorType = RCC_OSCILLATORTYPE_HSI|RCC_OSCILLATORTYPE_LSI
                              |RCC_OSCILLATORTYPE_LSE|RCC_OSCILLATORTYPE_MSI;
  RCC_OscInitStruct.LSEState = RCC_LSE_ON;
  RCC_OscInitStruct.HSIState = RCC_HSI_ON;
  RCC_OscInitStruct.HSICalibrationValue = RCC_HSICALIBRATION_DEFAULT;
  RCC_OscInitStruct.LSIState = RCC_LSI_ON;
  RCC_OscInitStruct.MSIState = RCC_MSI_ON;
  RCC_OscInitStruct.MSICalibrationValue = 0;
  RCC_OscInitStruct.MSIClockRange = RCC_MSIRANGE_6;
  RCC_OscInitStruct.PLL.PLLState = RCC_PLL_NONE;
  if (HAL_RCC_OscConfig(&RCC_OscInitStruct) != HAL_OK)
  {
    Error_Handler();
  }
  /** Initializes the CPU, AHB and APB buses clocks
  */
  RCC_ClkInitStruct.ClockType = RCC_CLOCKTYPE_HCLK|RCC_CLOCKTYPE_SYSCLK
                              |RCC_CLOCKTYPE_PCLK1|RCC_CLOCKTYPE_PCLK2;
  RCC_ClkInitStruct.SYSCLKSource = RCC_SYSCLKSOURCE_MSI;
  RCC_ClkInitStruct.AHBCLKDivider = RCC_SYSCLK_DIV1;
  RCC_ClkInitStruct.APB1CLKDivider = RCC_HCLK_DIV1;
  RCC_ClkInitStruct.APB2CLKDivider = RCC_HCLK_DIV1;

  if (HAL_RCC_ClockConfig(&RCC_ClkInitStruct, FLASH_LATENCY_0) != HAL_OK)
  {
    Error_Handler();
  }
  /** Enable MSI Auto calibration
  */
  HAL_RCCEx_EnableMSIPLLMode();
}

static void MX_ADC1_Init(void)
{

  ADC_MultiModeTypeDef multimode = {0};
  ADC_ChannelConfTypeDef sConfig = {0};

  /** Common config
  */
  hadc1.Instance = ADC1;
  hadc1.Init.ClockPrescaler = ADC_CLOCK_ASYNC_DIV1;
  hadc1.Init.Resolution = ADC_RESOLUTION_12B;
  hadc1.Init.DataAlign = ADC_DATAALIGN_RIGHT;
  hadc1.Init.ScanConvMode = ADC_SCAN_DISABLE;
  hadc1.Init.EOCSelection = ADC_EOC_SINGLE_CONV;
  hadc1.Init.LowPowerAutoWait = DISABLE;
  hadc1.Init.ContinuousConvMode = DISABLE;
  hadc1.Init.NbrOfConversion = 1;
  hadc1.Init.DiscontinuousConvMode = DISABLE;
  hadc1.Init.ExternalTrigConv = ADC_SOFTWARE_START;
  hadc1.Init.ExternalTrigConvEdge = ADC_EXTERNALTRIGCONVEDGE_NONE;
  hadc1.Init.DMAContinuousRequests = DISABLE;
  hadc1.Init.Overrun = ADC_OVR_DATA_PRESERVED;
  hadc1.Init.OversamplingMode = DISABLE;
  if (HAL_ADC_Init(&hadc1) != HAL_OK)
  {
    Error_Handler();
  }
  /** Configure the ADC multi-mode
  */
  multimode.Mode = ADC_MODE_INDEPENDENT;
  if (HAL_ADCEx_MultiModeConfigChannel(&hadc1, &multimode) != HAL_OK)
  {
    Error_Handler();
  }
  /** Configure Regular Channel
  */
  sConfig.Channel = ADC_CHANNEL_5;
  sConfig.Rank = ADC_REGULAR_RANK_1;
  sConfig.SamplingTime = ADC_SAMPLETIME_2CYCLES_5;
  sConfig.SingleDiff = ADC_SINGLE_ENDED;
  sConfig.OffsetNumber = ADC_OFFSET_NONE;
  sConfig.Offset = 0;
  if (HAL_ADC_ConfigChannel(&hadc1, &sConfig) != HAL_OK)
  {
    Error_Handler();
  }

}

static void MX_DAC1_Init(void)
{

  DAC_ChannelConfTypeDef sConfig = {0};

  /** DAC Initialization
  */
  hdac1.Instance = DAC1;
  if (HAL_DAC_Init(&hdac1) != HAL_OK)
  {
    Error_Handler();
  }
  /** DAC channel OUT1 config
  */
  sConfig.DAC_SampleAndHold = DAC_SAMPLEANDHOLD_DISABLE;
  sConfig.DAC_Trigger = DAC_TRIGGER_NONE;
  sConfig.DAC_OutputBuffer = DAC_OUTPUTBUFFER_ENABLE;
  sConfig.DAC_ConnectOnChipPeripheral = DAC_CHIPCONNECT_DISABLE;
  sConfig.DAC_UserTrimming = DAC_TRIMMING_FACTORY;
  if (HAL_DAC_ConfigChannel(&hdac1, &sConfig, DAC_CHANNEL_1) != HAL_OK)
  {
    Error_Handler();
  }
  /** DAC channel OUT2 config
  */
  if (HAL_DAC_ConfigChannel(&hdac1, &sConfig, DAC_CHANNEL_2) != HAL_OK)
  {
    Error_Handler();
  }

}

static void MX_I2C1_Init(void)
{

  hi2c1.Instance = I2C1;
  hi2c1.Init.Timing = 0x00000E14;
  hi2c1.Init.OwnAddress1 = 0;
  hi2c1.Init.AddressingMode = I2C_ADDRESSINGMODE_7BIT;
  hi2c1.Init.DualAddressMode = I2C_DUALADDRESS_DISABLE;
  hi2c1.Init.OwnAddress2 = 0;
  hi2c1.Init.OwnAddress2Masks = I2C_OA2_NOMASK;
  hi2c1.Init.GeneralCallMode = I2C_GENERALCALL_DISABLE;
  hi2c1.Init.NoStretchMode = I2C_NOSTRETCH_DISABLE;
  if (HAL_I2C_Init(&hi2c1) != HAL_OK)
  {
    Error_Handler();
  }
  /** Configure Analogue filter
  */
  if (HAL_I2CEx_ConfigAnalogFilter(&hi2c1, I2C_ANALOGFILTER_ENABLE) != HAL_OK)
  {
    Error_Handler();
  }
  /** Configure Digital filter
  */
  if (HAL_I2CEx_ConfigDigitalFilter(&hi2c1, 0) != HAL_OK)
  {
    Error_Handler();
  }

}

static void MX_IWDG_Init(void)
{

  hiwdg.Instance = IWDG;
  hiwdg.Init.Prescaler = IWDG_PRESCALER_4;
  hiwdg.Init.Window = 4095;
  hiwdg.Init.Reload = 4095;
  if (HAL_IWDG_Init(&hiwdg) != HAL_OK)
  {
    Error_Handler();
  }

}

static void MX_RTC_Init(void)
{

  RTC_TimeTypeDef sTime = {0};
  RTC_DateTypeDef sDate = {0};

  /** Initialize RTC Only
  */
  hrtc.Instance = RTC;
  hrtc.Init.HourFormat = RTC_HOURFORMAT_24;
  hrtc.Init.AsynchPrediv = 127;
  hrtc.Init.SynchPrediv = 255;
  hrtc.Init.OutPut = RTC_OUTPUT_DISABLE;
  hrtc.Init.OutPutRemap = RTC_OUTPUT_REMAP_NONE;
  hrtc.Init.OutPutPolarity = RTC_OUTPUT_POLARITY_HIGH;
  hrtc.Init.OutPutType = RTC_OUTPUT_TYPE_OPENDRAIN;
  if (HAL_RTC_Init(&hrtc) != HAL_OK)
  {
    Error_Handler();
  }

  /** Initialize RTC and set the Time and Date
  */
  sTime.Hours = 0x0;
  sTime.Minutes = 0x0;
  sTime.Seconds = 0x0;
  sTime.DayLightSaving = RTC_DAYLIGHTSAVING_NONE;
  sTime.StoreOperation = RTC_STOREOPERATION_RESET;
  if (HAL_RTC_SetTime(&hrtc, &sTime, RTC_FORMAT_BCD) != HAL_OK)
  {
    Error_Handler();
  }
  sDate.WeekDay = RTC_WEEKDAY_MONDAY;
  sDate.Month = RTC_MONTH_JANUARY;
  sDate.Date = 0x1;
  sDate.Year = 0x0;

  if (HAL_RTC_SetDate(&hrtc, &sDate, RTC_FORMAT_BCD) != HAL_OK)
  {
    Error_Handler();
  }

}

static void MX_SPI2_Init(void)
{

  /* SPI2 parameter configuration*/
  hspi2.Instance = SPI2;
  hspi2.Init.Mode = SPI_MODE_MASTER;
  hspi2.Init.Direction = SPI_DIRECTION_2LINES;
  hspi2.Init.DataSize = SPI_DATASIZE_4BIT;
  hspi2.Init.CLKPolarity = SPI_POLARITY_LOW;
  hspi2.Init.CLKPhase = SPI_PHASE_1EDGE;
  hspi2.Init.NSS = SPI_NSS_HARD_OUTPUT;
  hspi2.Init.BaudRatePrescaler = SPI_BAUDRATEPRESCALER_2;
  hspi2.Init.FirstBit = SPI_FIRSTBIT_MSB;
  hspi2.Init.TIMode = SPI_TIMODE_DISABLE;
  hspi2.Init.CRCCalculation = SPI_CRCCALCULATION_DISABLE;
  hspi2.Init.CRCPolynomial = 7;
  hspi2.Init.CRCLength = SPI_CRC_LENGTH_DATASIZE;
  hspi2.Init.NSSPMode = SPI_NSS_PULSE_ENABLE;
  if (HAL_SPI_Init(&hspi2) != HAL_OK)
  {
    Error_Handler();
  }

}

static void MX_TIM16_Init(void)
{

  htim16.Instance = TIM16;
  htim16.Init.Prescaler = 8000 - 1;
  htim16.Init.CounterMode = TIM_COUNTERMODE_UP;
  htim16.Init.Period = 10000 - 1;
  htim16.Init.ClockDivision = TIM_CLOCKDIVISION_DIV1;
  htim16.Init.RepetitionCounter = 0;
  htim16.Init.AutoReloadPreload = TIM_AUTORELOAD_PRELOAD_DISABLE;
  if (HAL_TIM_Base_Init(&htim16) != HAL_OK)
  {
    Error_Handler();
  }

}

static void MX_UART4_Init(void)
{

  huart4.Instance = UART4;
  huart4.Init.BaudRate = 115200;
  huart4.Init.WordLength = UART_WORDLENGTH_8B;
  huart4.Init.StopBits = UART_STOPBITS_1;
  huart4.Init.Parity = UART_PARITY_NONE;
  huart4.Init.Mode = UART_MODE_TX_RX;
  huart4.Init.HwFlowCtl = UART_HWCONTROL_NONE;
  huart4.Init.OverSampling = UART_OVERSAMPLING_16;
  huart4.Init.OneBitSampling = UART_ONE_BIT_SAMPLE_DISABLE;
  huart4.AdvancedInit.AdvFeatureInit = UART_ADVFEATURE_NO_INIT;
  if (HAL_UART_Init(&huart4) != HAL_OK)
  {
    Error_Handler();
  }

}

static void MX_GPIO_Init(void)
{
  GPIO_InitTypeDef GPIO_InitStruct = {0};

  /* GPIO Ports Clock Enable */
  __HAL_RCC_GPIOC_CLK_ENABLE();
  __HAL_RCC_GPIOH_CLK_ENABLE();
  __HAL_RCC_GPIOA_CLK_ENABLE();
  __HAL_RCC_GPIOB_CLK_ENABLE();

  /*Configure GPIO pin Output Level */
  HAL_GPIO_WritePin(GPIOC, GPIO_PIN_0|GPIO_PIN_2|GPIO_PIN_3|GPIO_PIN_9, GPIO_PIN_RESET);

  /*Configure GPIO pin Output Level */
  HAL_GPIO_WritePin(GPIOA, GPIO_PIN_3|GPIO_PIN_9|GPIO_PIN_11|GPIO_PIN_12
                          |GPIO_PIN_15, GPIO_PIN_RESET);

  /*Configure GPIO pin Output Level */
  HAL_GPIO_WritePin(GPIOB, GPIO_PIN_0|GPIO_PIN_10|GPIO_PIN_11, GPIO_PIN_RESET);

  /*Configure GPIO pin : B1_Pin */
  GPIO_InitStruct.Pin = B1_Pin;
  GPIO_InitStruct.Mode = GPIO_MODE_IT_FALLING;
  GPIO_InitStruct.Pull = GPIO_NOPULL;
  HAL_GPIO_Init(B1_GPIO_Port, &GPIO_InitStruct);

  /*Configure GPIO pins : PC0 PC2 PC3 PC9 */
  GPIO_InitStruct.Pin = GPIO_PIN_0|GPIO_PIN_2|GPIO_PIN_3|GPIO_PIN_9;
  GPIO_InitStruct.Mode = GPIO_MODE_OUTPUT_PP;
  GPIO_InitStruct.Pull = GPIO_NOPULL;
  GPIO_InitStruct.Speed = GPIO_SPEED_FREQ_LOW;
  HAL_GPIO_Init(GPIOC, &GPIO_InitStruct);

  /*Configure GPIO pins : PA3 PA9 PA11 PA12
                           PA15 */
  GPIO_InitStruct.Pin = GPIO_PIN_3|GPIO_PIN_9|GPIO_PIN_11|GPIO_PIN_12
                          |GPIO_PIN_15;
  GPIO_InitStruct.Mode = GPIO_MODE_OUTPUT_PP;
  GPIO_InitStruct.Pull = GPIO_NOPULL;
  GPIO_InitStruct.Speed = GPIO_SPEED_FREQ_LOW;
  HAL_GPIO_Init(GPIOA, &GPIO_InitStruct);

  /*Configure GPIO pins : PA7 PA8 */
  GPIO_InitStruct.Pin = GPIO_PIN_7|GPIO_PIN_8;
  GPIO_InitStruct.Mode = GPIO_MODE_INPUT;
  GPIO_InitStruct.Pull = GPIO_NOPULL;
  HAL_GPIO_Init(GPIOA, &GPIO_InitStruct);

  /*Configure GPIO pin : PC4 */
  GPIO_InitStruct.Pin = GPIO_PIN_4;
  GPIO_InitStruct.Mode = GPIO_MODE_INPUT;
  GPIO_InitStruct.Pull = GPIO_NOPULL;
  HAL_GPIO_Init(GPIOC, &GPIO_InitStruct);

  /*Configure GPIO pins : PB0 PB10 PB11 */
  GPIO_InitStruct.Pin = GPIO_PIN_0|GPIO_PIN_10|GPIO_PIN_11;
  GPIO_InitStruct.Mode = GPIO_MODE_OUTPUT_PP;
  GPIO_InitStruct.Pull = GPIO_NOPULL;
  GPIO_InitStruct.Speed = GPIO_SPEED_FREQ_LOW;
  HAL_GPIO_Init(GPIOB, &GPIO_InitStruct);

  /*Configure GPIO pin : PA10 */
  GPIO_InitStruct.Pin = GPIO_PIN_10;
  GPIO_InitStruct.Mode = GPIO_MODE_IT_RISING;
  GPIO_InitStruct.Pull = GPIO_NOPULL;
  HAL_GPIO_Init(GPIOA, &GPIO_InitStruct);

  /*Configure GPIO pin : PB5 */
  GPIO_InitStruct.Pin = GPIO_PIN_5;
  GPIO_InitStruct.Mode = GPIO_MODE_INPUT;
  GPIO_InitStruct.Pull = GPIO_NOPULL;
  HAL_GPIO_Init(GPIOB, &GPIO_InitStruct);

  /* EXTI interrupt init*/
  HAL_NVIC_SetPriority(EXTI15_10_IRQn, 5, 0);
  HAL_NVIC_EnableIRQ(EXTI15_10_IRQn);

}

/* USER CODE BEGIN 4 */

void eighttosixfour (void){
	uint64_t dataVect[sizeof(photo_vect)/8+1];
	memcpy(&dataVect, photo_vect, sizeof(dataVect));
	uint64_t info_write;
	info_write=dataVect;
	Flash_Write_Data(TEST_ADDRESS3, &info_write, (sizeof(photo_vect)/8+1));
}

// Callback: timer has reset
void HAL_TIM_PeriodElapsedCallback(TIM_HandleTypeDef *htim){
	// Check which version of the timer triggered this callback and toggle LED
	// THIS IS A PERIPHERIAL TIMMER IN NUCLEO BOARD, IF WE NEED ONE INTERNAL, LOOK FOR AN EXAMPLE OF THE STM32L476
	if (htim == &htim16){
		timer_counter = timer_counter + 1;
		if (timer_counter == 10){	//Every 10 seconds
			HAL_GPIO_TogglePin(GPIOA, GPIO_PIN_5);
			timer_counter = 0;
		}
	}
}

/* USER CODE END 4 */

void StartDefaultTask(void *argument)
{
  for(;;)
  {
    osDelay(1);
  }
}

void Error_Handler(void)
{
  __disable_irq();
  while (1)
  {
  }
}

/************************ (C) COPYRIGHT STMicroelectronics *****END OF FILE****/
